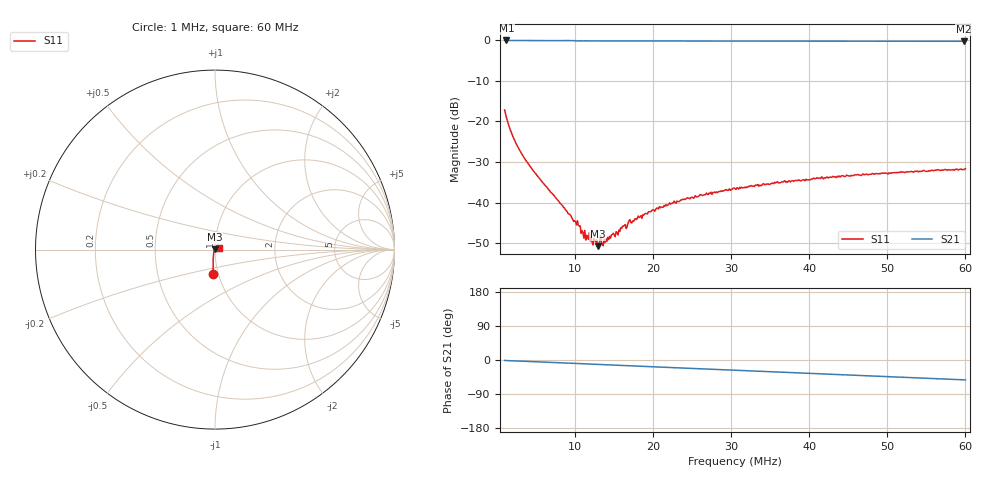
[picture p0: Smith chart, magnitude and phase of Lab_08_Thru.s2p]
!Keysight Technologies,P9371A,MY57213205,A.13.10.05
!Date: Wednesday, April 16, 2025 10:03:03
!Correction: S11(Off)
!S21(Off)
!S12(Off)
!S22(Off)
!S2P File: Measurements: S11, S21, S12, S22:
# Hz S  dB  R 50
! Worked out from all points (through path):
!   501 points, 1 MHz to 60 MHz, reference 50 ohm
!   highest |S21| = -0.08 dB at 1.236 MHz (marker M1); lowest = -0.3 dB at 59.76 MHz (marker M2)
!   group delay of S21, straight-line fit = 2.42 ns
!   lowest |S11| = -50.7 dB at 12.92 MHz (marker M3), VSWR 1.01, Z = 49.7 + j0.104 ohm
!   |S11| at or under -10 dB: start of sweep to end of sweep
!   S12 and S22 are empty: the file has one direction only
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1000000  -17.17 -94.0  -0.08 -1.0  -200.00 45.0  -200.00 45.0
1236000  -19.04 -95.5  -0.08 -1.6  -200.00 45.0  -200.00 45.0
2180000  -24.23 -99.5  -0.09 -2.2  -200.00 45.0  -200.00 45.0
3596000  -29.23 -105.3  -0.10 -3.4  -200.00 45.0  -200.00 45.0
5838000  -34.97 -114.0  -0.12 -5.4  -200.00 45.0  -200.00 45.0
9968000  -44.49 -143.6  -0.14 -8.9  -200.00 45.0  -200.00 45.0
1.044e7  -45.57 -154.8  -0.18 -9.3  -200.00 45.0  -200.00 45.0
1.0912e7  -46.83 -156.9  -0.18 -9.7  -200.00 45.0  -200.00 45.0
1.1384e7  -49.20 -166.9  -0.18 -10.2  -200.00 45.0  -200.00 45.0
1.2918e7  -50.70 159.0  -0.19 -11.6  -200.00 45.0  -200.00 45.0
1.3626e7  -50.63 143.6  -0.19 -12.3  -200.00 45.0  -200.00 45.0
1.4688e7  -47.89 115.4  -0.20 -13.2  -200.00 45.0  -200.00 45.0
1.5278e7  -47.14 114.2  -0.19 -13.7  -200.00 45.0  -200.00 45.0
1.6104e7  -45.77 101.3  -0.19 -14.4  -200.00 45.0  -200.00 45.0
1.7048e7  -44.16 96.0  -0.20 -15.3  -200.00 45.0  -200.00 45.0
2.0706e7  -41.55 77.1  -0.21 -18.5  -200.00 45.0  -200.00 45.0
2.4246e7  -39.04 69.4  -0.22 -21.6  -200.00 45.0  -200.00 45.0
3.05e7  -36.52 54.9  -0.23 -27.0  -200.00 45.0  -200.00 45.0
4.0412e7  -34.19 43.6  -0.25 -35.5  -200.00 45.0  -200.00 45.0
5.0206e7  -32.66 32.4  -0.27 -44.0  -200.00 45.0  -200.00 45.0
5.9764e7  -31.82 21.3  -0.29 -52.3  -200.00 45.0  -200.00 45.0
6e7  -31.64 22.1  -0.28 -52.5  -200.00 45.0  -200.00 45.0
